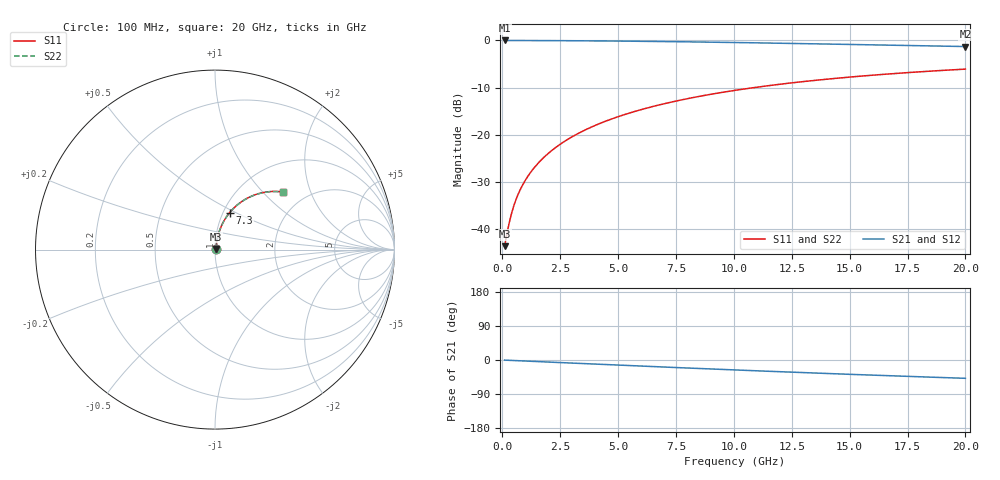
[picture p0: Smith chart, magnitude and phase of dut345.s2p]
! Touchstone file exported from HFSS 2026.1.0
!  File:  C:/ffzhzh/LocalFiles/Ansys_Project_Files/temp_train_TMRDL_345_1783003910_46388.aedt
!  Generated:  10:53:06 PM Jul  2, 2026
!  Design:  TMRDL
!  Project:  temp_train_TMRDL_345_1783003910_46388
! Variables:
!  h_bsmrdl = 2um
!  h_ox = 20um
!  h_rdl = 5um
!  h_sub = 80um
!  h_tmrdl = 2.13um
!  h_tsv = 80um
!  h_via = 3um
!  l_bsmrdl = 300um
!  l_sub = 1060.53um
!  l_tmrdl = 660.53um
!  m_sub = 200um
!  pitch = 55.53um
!  r_tsv = 6um
!  s_tmrdl = 10um
!  w_bsmrdl = 18um
!  w_sub = 500um
!  w_tmrdl = 20.02um
!  x_tsv_center1 = 670.54um
!  x_tsv_center2 = 988.54um
!  x_tsv_center3 = 1669.09um
!  x_tsv_center4 = 1987.09um
!  x_tsv_center5 = 2667.64um
!  x_tsv_center6 = 2985.64um
# GHz S MA R 50.000000
! Terminal data exported
! Port[1] = TM_RDL1_1_T1
! Port[2] = TM_RDL1_1_T2
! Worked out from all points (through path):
!   200 points, 100 MHz to 20 GHz, reference 50 ohm
!   highest |S21| = -0.05 dB at 100 MHz (marker M1); lowest = -1.3 dB at 20 GHz (marker M2)
!   group delay of S21, straight-line fit = 6.73 ps
!   lowest |S11| = -43.5 dB at 100 MHz (marker M3), VSWR 1.01, Z = 50.6 + j0.343 ohm
!   |S11| at or under -10 dB: start of sweep to 10.89 GHz
!   |S22| runs from -43.5 to -6.1 dB; largest |S21 - S12| = 3.5e-15
!   S11 on the Smith chart (normalised r, x): 100 MHz: 1.01, +0.01; 7.3 GHz: 1.07, +0.47; 20 GHz: 1.54, +1.31
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0.1  0.006656 30.7  0.9943 -0.3  0.9943 -0.3  0.006656 30.7
! Gamma 0 0 0 0
! Port Impedance 50 0 50 0
0.3  0.01178 58.8  0.994 -0.9  0.994 -0.9  0.01178 58.8
0.4  0.01479 64.5  0.9938 -1.1  0.9938 -1.1  0.01479 64.5
0.5  0.01786 68.0  0.9936 -1.4  0.9936 -1.4  0.01786 68.0
0.6  0.02094 70.4  0.9934 -1.7  0.9934 -1.7  0.02094 70.4
0.8  0.02711 73.4  0.9929 -2.2  0.9929 -2.2  0.02711 73.4
1.1  0.03634 75.8  0.9923 -3.0  0.9923 -3.0  0.03634 75.8
1.3  0.04249 76.7  0.992 -3.6  0.992 -3.6  0.04249 76.7
1.6  0.05174 77.5  0.9914 -4.4  0.9914 -4.4  0.05174 77.5
2.1  0.06717 77.9  0.9903 -5.7  0.9903 -5.7  0.06717 77.9
2.7  0.08568 77.6  0.9887 -7.3  0.9887 -7.3  0.08568 77.6
3.5  0.1102 76.5  0.9861 -9.5  0.9861 -9.5  0.1102 76.5
4.2  0.1315 75.2  0.9834 -11.3  0.9834 -11.3  0.1315 75.2
5  0.1555 73.6  0.9797 -13.4  0.9797 -13.4  0.1555 73.6
5.9  0.1819 71.6  0.975 -15.8  0.975 -15.8  0.1819 71.6
6.8  0.2078 69.5  0.9696 -18.1  0.9696 -18.1  0.2078 69.5
7.3  0.2219 68.4  0.9664 -19.4  0.9664 -19.4  0.2219 68.3
8.6  0.2575 65.3  0.9572 -22.7  0.9572 -22.7  0.2575 65.3
10.1  0.2965 61.8  0.9455 -26.4  0.9455 -26.4  0.2965 61.7
13.4  0.3742 54.3  0.917 -34.2  0.917 -34.2  0.3742 54.2
16.7  0.4402 47.1  0.8868 -41.5  0.8868 -41.5  0.4403 47.0
20  0.4951 40.4  0.8573 -48.3  0.8573 -48.3  0.4951 40.3
